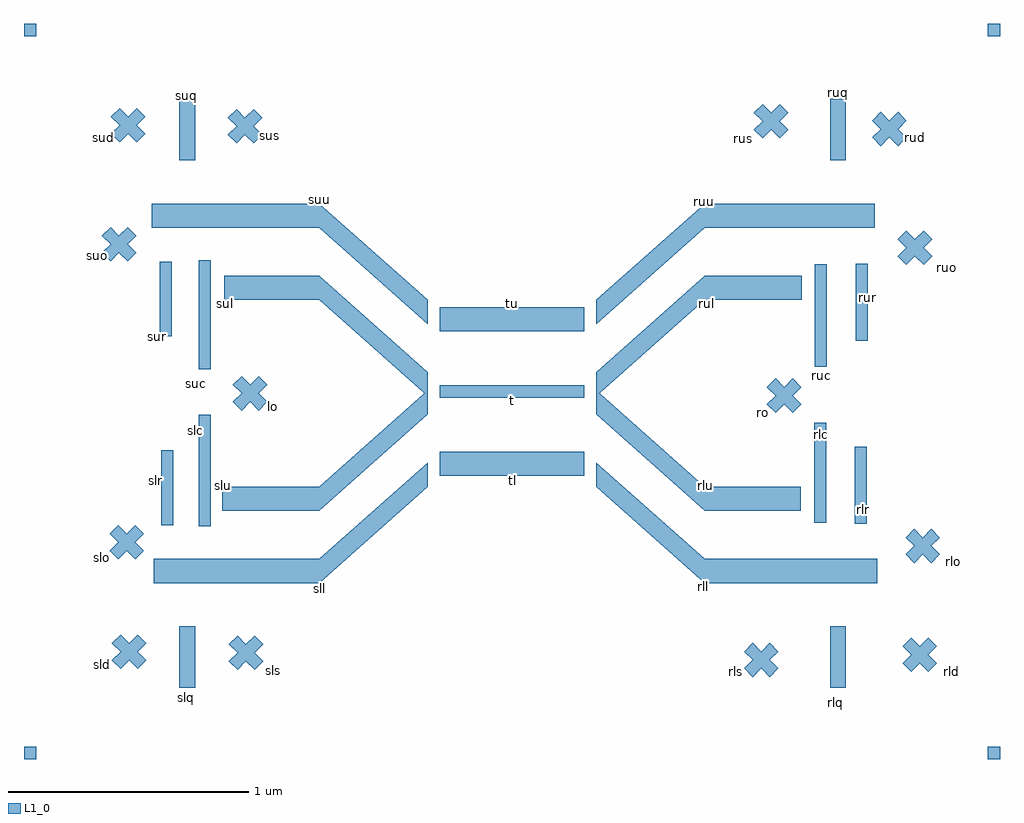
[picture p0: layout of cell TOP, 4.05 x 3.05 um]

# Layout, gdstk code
import gdstk
lib = gdstk.Library(unit=1e-6, precision=1e-09)
def R(c, l, rs):  # rectangles x0, y0, x1, y1
    for r in rs: c.add(gdstk.rectangle(r[:2], r[2:], *l))
def P(c, l, *ps):  # polygons
    for p in ps: c.add(gdstk.Polygon(p, *l))
L1_0 = (1, 0)

top = lib.new_cell('TOP')
R(top, L1_0, [(-2.025,-1.525,-1.975,-1.475), (1.975,-1.525,2.025,-1.475), (-1.38,-1.23,-1.315,-0.975), (1.32,-1.23,1.385,-0.975), (-1.3,-0.56,-1.25,-0.096), (-1.456,-0.554,-1.406,-0.244), (1.423,-0.549,1.473,-0.229), (1.255,-0.545,1.305,-0.129), (-0.3,-0.35,0.3,-0.25), (-0.3,-0.025,0.3,0.025), (-1.3,0.092,-1.25,0.545), (1.257,0.102,1.307,0.529), (1.426,0.211,1.476,0.531), (-1.462,0.229,-1.412,0.539), (-0.3,0.25,0.3,0.35), (-1.38,0.96,-1.315,1.215), (1.32,0.96,1.385,1.215), (-2.025,1.475,-1.975,1.525), (1.975,1.475,2.025,1.525)])
P(top, L1_0, [(0.35,0.28),(0.35,0.38),(0.8,0.78),(1.505,0.78),(1.505,0.68),(0.8,0.68)],
  [(0.8,-0.795),(0.35,-0.395),(0.35,-0.295),(0.8,-0.695),(1.515,-0.695),(1.515,-0.795)],
  [(-1.486,-0.795),(-1.486,-0.695),(-0.8,-0.695),(-0.35,-0.295),(-0.35,-0.395),(-0.8,-0.795)],
  [(-0.35,0.28),(-0.8,0.68),(-1.495,0.68),(-1.495,0.78),(-0.8,0.78),(-0.35,0.38)],
  [(-0.35,-0.02),(-0.8,0.38),(-1.194,0.38),(-1.194,0.48),(-0.8,0.48),(-0.35,0.08)],
  [(-1.202,-0.495),(-1.202,-0.395),(-0.8,-0.395),(-0.35,0.005),(-0.35,-0.095),(-0.8,-0.495)],
  [(0.35,-0.02),(0.35,0.08),(0.8,0.48),(1.202,0.48),(1.202,0.38),(0.8,0.38)],
  [(1.04,1.05),(1.004,1.086),(1.04,1.121),(1.004,1.156),(1.04,1.192),(1.075,1.156),(1.111,1.192),(1.146,1.156),(1.111,1.121),(1.146,1.086),(1.111,1.05),(1.075,1.086)],
  [(0.999,-1.185),(0.963,-1.149),(0.999,-1.114),(0.963,-1.079),(0.999,-1.043),(1.034,-1.079),(1.07,-1.043),(1.105,-1.079),(1.07,-1.114),(1.105,-1.149),(1.07,-1.185),(1.034,-1.149)],
  [(1.669,-0.712),(1.633,-0.676),(1.669,-0.641),(1.633,-0.606),(1.669,-0.57),(1.704,-0.606),(1.74,-0.57),(1.775,-0.606),(1.74,-0.641),(1.775,-0.676),(1.74,-0.712),(1.704,-0.676)],
  [(-1.143,1.03),(-1.179,1.066),(-1.143,1.101),(-1.179,1.136),(-1.143,1.172),(-1.108,1.136),(-1.072,1.172),(-1.037,1.136),(-1.072,1.101),(-1.037,1.066),(-1.072,1.03),(-1.108,1.066)],
  [(-1.628,1.034),(-1.664,1.07),(-1.628,1.105),(-1.664,1.14),(-1.628,1.176),(-1.593,1.14),(-1.557,1.176),(-1.522,1.14),(-1.557,1.105),(-1.522,1.07),(-1.557,1.034),(-1.593,1.07)],
  [(-1.139,-1.155),(-1.175,-1.119),(-1.139,-1.084),(-1.175,-1.049),(-1.139,-1.013),(-1.104,-1.049),(-1.068,-1.013),(-1.033,-1.049),(-1.068,-1.084),(-1.033,-1.119),(-1.068,-1.155),(-1.104,-1.119)],
  [(-1.624,-1.151),(-1.66,-1.115),(-1.624,-1.08),(-1.66,-1.045),(-1.624,-1.009),(-1.589,-1.045),(-1.553,-1.009),(-1.518,-1.045),(-1.553,-1.08),(-1.518,-1.115),(-1.553,-1.151),(-1.589,-1.115)],
  [(-1.666,0.54),(-1.702,0.576),(-1.666,0.611),(-1.702,0.646),(-1.666,0.682),(-1.631,0.646),(-1.595,0.682),(-1.56,0.646),(-1.595,0.611),(-1.56,0.576),(-1.595,0.54),(-1.631,0.576)],
  [(-1.634,-0.697),(-1.67,-0.661),(-1.634,-0.626),(-1.67,-0.591),(-1.634,-0.555),(-1.599,-0.591),(-1.563,-0.555),(-1.528,-0.591),(-1.563,-0.626),(-1.528,-0.661),(-1.563,-0.697),(-1.599,-0.661)],
  [(-1.122,-0.079),(-1.158,-0.043),(-1.122,-0.008),(-1.158,0.027),(-1.122,0.063),(-1.087,0.027),(-1.051,0.063),(-1.016,0.027),(-1.051,-0.008),(-1.016,-0.043),(-1.051,-0.079),(-1.087,-0.043)],
  [(1.094,-0.088),(1.058,-0.052),(1.094,-0.017),(1.058,0.018),(1.094,0.054),(1.129,0.018),(1.165,0.054),(1.2,0.018),(1.165,-0.017),(1.2,-0.052),(1.165,-0.088),(1.129,-0.052)],
  [(1.637,0.525),(1.601,0.561),(1.637,0.596),(1.601,0.631),(1.637,0.667),(1.672,0.631),(1.708,0.667),(1.743,0.631),(1.708,0.596),(1.743,0.561),(1.708,0.525),(1.672,0.561)],
  [(1.657,-1.163),(1.621,-1.127),(1.657,-1.092),(1.621,-1.057),(1.657,-1.021),(1.692,-1.057),(1.728,-1.021),(1.763,-1.057),(1.728,-1.092),(1.763,-1.127),(1.728,-1.163),(1.692,-1.127)],
  [(1.531,1.018),(1.495,1.054),(1.531,1.089),(1.495,1.124),(1.531,1.16),(1.566,1.124),(1.602,1.16),(1.637,1.124),(1.602,1.089),(1.637,1.054),(1.602,1.018),(1.566,1.054)],
  [(0.8,-0.495),(0.35,-0.095),(0.35,0.005),(0.8,-0.395),(1.198,-0.395),(1.198,-0.495)])
top.add(gdstk.Label('suq', (-1.35,1.23), layer=1, texttype=0))
top.add(gdstk.Label('ruq', (1.353,1.242), layer=1, texttype=0))
top.add(gdstk.Label('slq', (-1.352,-1.269), layer=1, texttype=0))
top.add(gdstk.Label('rlq', (1.344,-1.289), layer=1, texttype=0))
top.add(gdstk.Label('slu', (-1.196,-0.388), layer=1, texttype=0))
top.add(gdstk.Label('suu', (-0.797,0.795), layer=1, texttype=0))
top.add(gdstk.Label('sul', (-1.19,0.365), layer=1, texttype=0))
top.add(gdstk.Label('ruu', (0.8,0.79), layer=1, texttype=0))
top.add(gdstk.Label('rll', (0.796,-0.809), layer=1, texttype=0))
top.add(gdstk.Label('rlu', (0.805,-0.39), layer=1, texttype=0))
top.add(gdstk.Label('rul', (0.806,0.366), layer=1, texttype=0))
top.add(gdstk.Label('sur', (-1.472,0.227), layer=1, texttype=0))
top.add(gdstk.Label('suc', (-1.31,0.032), layer=1, texttype=0))
top.add(gdstk.Label('slc', (-1.314,-0.161), layer=1, texttype=0))
top.add(gdstk.Label('tu', (0,0.366), layer=1, texttype=0))
top.add(gdstk.Label('t', (0,-0.038), layer=1, texttype=0))
top.add(gdstk.Label('slr', (-1.479,-0.37), layer=1, texttype=0))
top.add(gdstk.Label('tl', (0,-0.369), layer=1, texttype=0))
top.add(gdstk.Label('sll', (-0.8,-0.819), layer=1, texttype=0))
top.add(gdstk.Label('rur', (1.474,0.39), layer=1, texttype=0))
top.add(gdstk.Label('rlc', (1.283,-0.179), layer=1, texttype=0))
top.add(gdstk.Label('rlr', (1.457,-0.49), layer=1, texttype=0))
top.add(gdstk.Label('ruc', (1.285,0.065), layer=1, texttype=0))
top.add(gdstk.Label('sus', (-1.007,1.062), layer=1, texttype=0))
top.add(gdstk.Label('suo', (-1.721,0.564), layer=1, texttype=0))
top.add(gdstk.Label('lo', (-0.992,-0.064), layer=1, texttype=0))
top.add(gdstk.Label('ro', (1.039,-0.088), layer=1, texttype=0))
top.add(gdstk.Label('sud', (-1.695,1.056), layer=1, texttype=0))
top.add(gdstk.Label('rud', (1.676,1.053), layer=1, texttype=0))
top.add(gdstk.Label('rus', (0.959,1.051), layer=1, texttype=0))
top.add(gdstk.Label('sld', (-1.699,-1.132), layer=1, texttype=0))
top.add(gdstk.Label('sls', (-0.99,-1.159), layer=1, texttype=0))
top.add(gdstk.Label('rls', (0.928,-1.162), layer=1, texttype=0))
top.add(gdstk.Label('slo', (-1.702,-0.687), layer=1, texttype=0))
top.add(gdstk.Label('ruo', (1.805,0.515), layer=1, texttype=0))
top.add(gdstk.Label('rlo', (1.833,-0.706), layer=1, texttype=0))
top.add(gdstk.Label('rld', (1.824,-1.16), layer=1, texttype=0))

lib.write_gds('TOP.gds')
